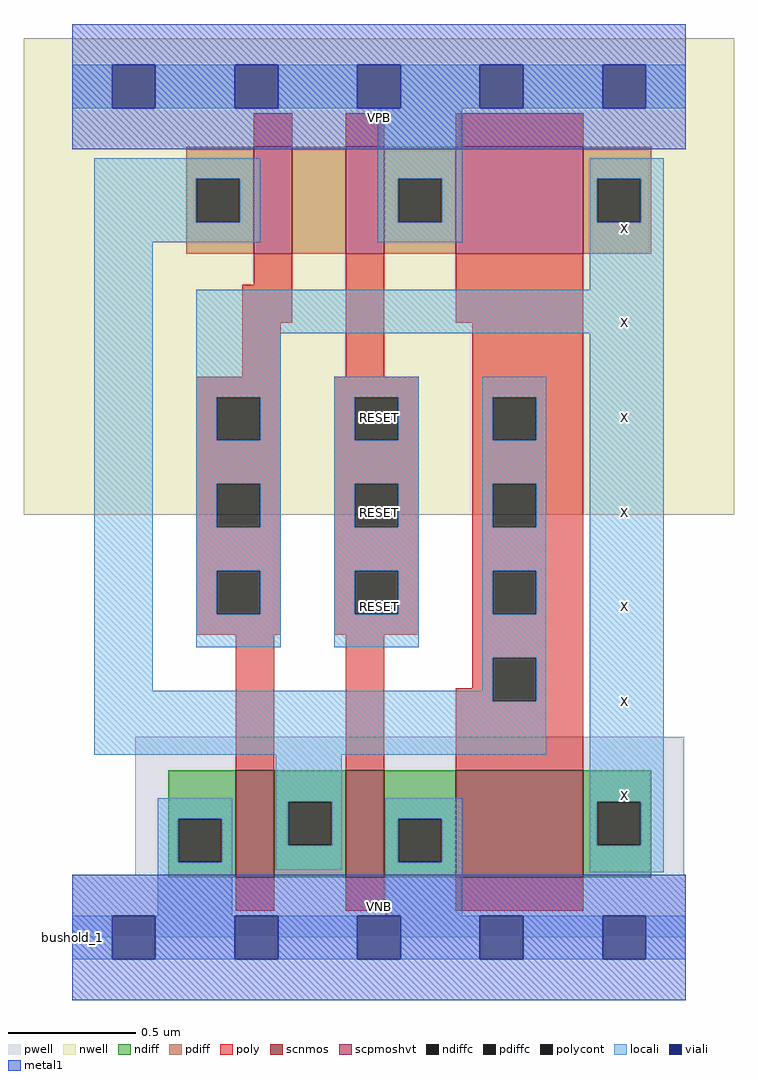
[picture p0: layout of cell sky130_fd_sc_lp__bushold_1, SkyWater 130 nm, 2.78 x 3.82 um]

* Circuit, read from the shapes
.subckt sky130_fd_sc_lp__bushold_1 RESET VGND VNB VPB VPWR X
XM1 n1 X VGND VNB sky130_fd_pr__nfet_01v8 w=0.42 l=0.15
XM2 VGND RESET n1 VNB sky130_fd_pr__nfet_01v8 w=0.42 l=0.15
XM3 X n1 VGND VNB sky130_fd_pr__nfet_01v8 w=0.42 l=0.5
XM4 n2 X n1 VPB sky130_fd_pr__pfet_01v8_hvt w=0.42 l=0.15
XM5 VPWR RESET n2 VPB sky130_fd_pr__pfet_01v8_hvt w=0.42 l=0.15
XM6 X n1 VPWR VPB sky130_fd_pr__pfet_01v8_hvt w=0.42 l=0.5
.ends

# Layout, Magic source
magic
tech sky130A
magscale 1 2
<< nwell >>
rect -38 331 518 704
<< pwell >>
rect 49 49 479 157
rect 0 0 480 49
<< scnmos >>
rect 128 47 158 131
rect 214 47 244 131
rect 300 47 400 131
<< scpmoshvt >>
rect 142 535 172 619
rect 214 535 244 619
rect 300 535 400 619
<< ndiff >>
rect 75 93 128 131
rect 75 59 83 93
rect 117 59 128 93
rect 75 47 128 59
rect 158 106 214 131
rect 158 72 169 106
rect 203 72 214 106
rect 158 47 214 72
rect 244 93 300 131
rect 244 59 255 93
rect 289 59 300 93
rect 244 47 300 59
rect 400 106 453 131
rect 400 72 411 106
rect 445 72 453 106
rect 400 47 453 72
<< pdiff >>
rect 89 594 142 619
rect 89 560 97 594
rect 131 560 142 594
rect 89 535 142 560
rect 172 535 214 619
rect 244 594 300 619
rect 244 560 255 594
rect 289 560 300 594
rect 244 535 300 560
rect 400 594 453 619
rect 400 560 411 594
rect 445 560 453 594
rect 400 535 453 560
<< ndiffc >>
rect 83 59 117 93
rect 169 72 203 106
rect 255 59 289 93
rect 411 72 445 106
<< pdiffc >>
rect 97 560 131 594
rect 255 560 289 594
rect 411 560 445 594
<< poly >>
rect 142 619 172 645
rect 214 619 244 645
rect 300 619 400 645
rect 142 511 172 535
rect 133 481 172 511
rect 133 439 163 481
rect 214 439 244 535
rect 300 481 400 535
rect 97 423 163 439
rect 97 389 113 423
rect 147 389 163 423
rect 97 355 163 389
rect 97 321 113 355
rect 147 321 163 355
rect 97 287 163 321
rect 97 253 113 287
rect 147 253 163 287
rect 97 237 163 253
rect 205 423 271 439
rect 205 389 221 423
rect 255 389 271 423
rect 205 355 271 389
rect 205 321 221 355
rect 255 321 271 355
rect 205 287 271 321
rect 205 253 221 287
rect 255 253 271 287
rect 205 237 271 253
rect 313 423 400 481
rect 313 389 329 423
rect 363 389 400 423
rect 313 355 400 389
rect 313 321 329 355
rect 363 321 400 355
rect 313 287 400 321
rect 313 253 329 287
rect 363 253 400 287
rect 128 131 158 237
rect 214 131 244 237
rect 313 219 400 253
rect 313 195 329 219
rect 300 185 329 195
rect 363 185 400 219
rect 300 131 400 185
rect 128 21 158 47
rect 214 21 244 47
rect 300 21 400 47
<< polycont >>
rect 113 389 147 423
rect 113 321 147 355
rect 113 253 147 287
rect 221 389 255 423
rect 221 321 255 355
rect 221 253 255 287
rect 329 389 363 423
rect 329 321 363 355
rect 329 253 363 287
rect 329 185 363 219
<< locali >>
rect 0 649 31 683
rect 65 649 127 683
rect 161 649 223 683
rect 257 649 319 683
rect 353 649 415 683
rect 449 649 480 683
rect 17 594 147 610
rect 17 560 97 594
rect 131 560 147 594
rect 17 544 147 560
rect 239 594 305 649
rect 239 560 255 594
rect 289 560 305 594
rect 239 544 305 560
rect 405 594 463 610
rect 405 560 411 594
rect 445 560 463 594
rect 17 193 63 544
rect 405 507 463 560
rect 97 473 463 507
rect 97 423 163 473
rect 97 389 113 423
rect 147 389 163 423
rect 97 355 163 389
rect 97 321 113 355
rect 147 321 163 355
rect 97 287 163 321
rect 97 253 113 287
rect 147 253 163 287
rect 97 227 163 253
rect 205 423 271 439
rect 205 389 221 423
rect 255 389 271 423
rect 205 355 271 389
rect 205 321 221 355
rect 255 321 271 355
rect 205 287 271 321
rect 205 253 221 287
rect 255 253 271 287
rect 205 227 271 253
rect 321 423 371 439
rect 321 389 329 423
rect 363 389 371 423
rect 321 355 371 389
rect 321 321 329 355
rect 363 321 371 355
rect 321 287 371 321
rect 321 253 329 287
rect 363 253 371 287
rect 321 219 371 253
rect 321 193 329 219
rect 17 185 329 193
rect 363 185 371 219
rect 17 143 371 185
rect 67 93 125 109
rect 67 59 83 93
rect 117 59 125 93
rect 67 17 125 59
rect 159 106 211 143
rect 159 72 169 106
rect 203 72 211 106
rect 159 53 211 72
rect 245 93 305 109
rect 245 59 255 93
rect 289 59 305 93
rect 245 17 305 59
rect 405 106 463 473
rect 405 72 411 106
rect 445 72 463 106
rect 405 51 463 72
rect 0 -17 31 17
rect 65 -17 127 17
rect 161 -17 223 17
rect 257 -17 319 17
rect 353 -17 415 17
rect 449 -17 480 17
<< viali >>
rect 31 649 65 683
rect 127 649 161 683
rect 223 649 257 683
rect 319 649 353 683
rect 415 649 449 683
rect 31 -17 65 17
rect 127 -17 161 17
rect 223 -17 257 17
rect 319 -17 353 17
rect 415 -17 449 17
<< metal1 >>
rect 0 683 480 715
rect 0 649 31 683
rect 65 649 127 683
rect 161 649 223 683
rect 257 649 319 683
rect 353 649 415 683
rect 449 649 480 683
rect 0 617 480 649
rect 0 17 480 49
rect 0 -17 31 17
rect 65 -17 127 17
rect 161 -17 223 17
rect 257 -17 319 17
rect 353 -17 415 17
rect 449 -17 480 17
rect 0 -49 480 -17
<< labels >>
flabel pwell s 0 0 480 49 0 FreeSans 200 0 0 0 VNB
port 3 nsew ground bidirectional
flabel nwell s 0 617 480 666 0 FreeSans 200 0 0 0 VPB
port 4 nsew power bidirectional
rlabel comment s 0 0 0 0 4 bushold_1
flabel metal1 s 0 617 480 666 0 FreeSans 340 0 0 0 VPWR
port 5 nsew power bidirectional
flabel metal1 s 0 0 480 49 0 FreeSans 340 0 0 0 VGND
port 2 nsew ground bidirectional
flabel locali s 415 94 449 128 0 FreeSans 340 0 0 0 X
port 6 nsew signal bidirectional
flabel locali s 415 168 449 202 0 FreeSans 340 0 0 0 X
port 6 nsew signal bidirectional
flabel locali s 415 242 449 276 0 FreeSans 340 0 0 0 X
port 6 nsew signal bidirectional
flabel locali s 415 316 449 350 0 FreeSans 340 0 0 0 X
port 6 nsew signal bidirectional
flabel locali s 415 390 449 424 0 FreeSans 340 0 0 0 X
port 6 nsew signal bidirectional
flabel locali s 415 464 449 498 0 FreeSans 340 0 0 0 X
port 6 nsew signal bidirectional
flabel locali s 415 538 449 572 0 FreeSans 340 0 0 0 X
port 6 nsew signal bidirectional
flabel locali s 223 242 257 276 0 FreeSans 200 0 0 0 RESET
port 1 nsew signal input
flabel locali s 223 316 257 350 0 FreeSans 200 0 0 0 RESET
port 1 nsew signal input
flabel locali s 223 390 257 424 0 FreeSans 200 0 0 0 RESET
port 1 nsew signal input
<< properties >>
string LEFsite unit
string LEFclass CORE
string FIXED_BBOX 0 0 480 666
string GDS_FILE $PDKPATH/libs.ref/sky130_fd_sc_lp/gds/sky130_fd_sc_lp.gds
string LEFsymmetry X Y
string GDS_END 3467984
string GDS_START 3462664
<< end >>
